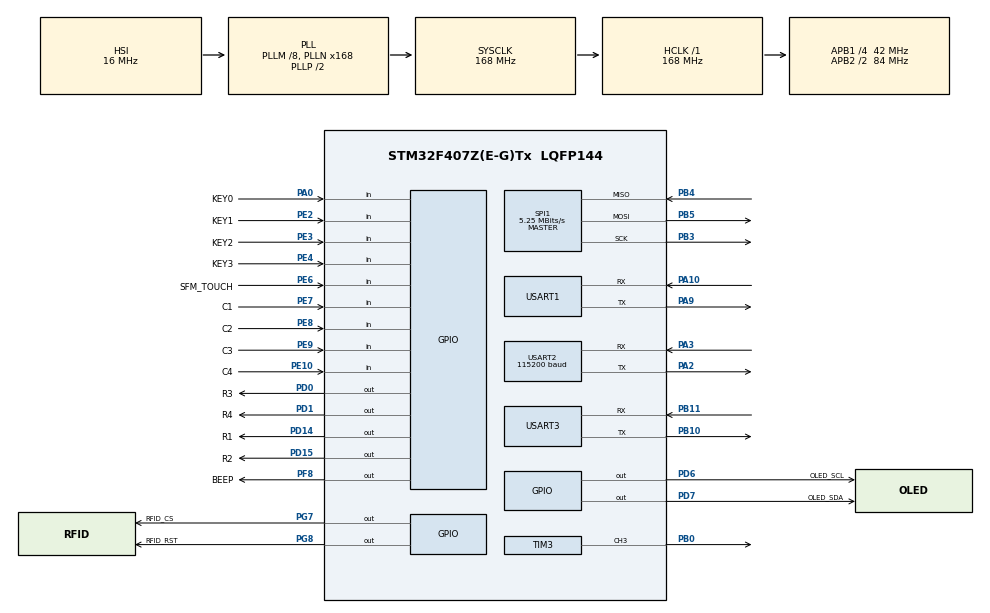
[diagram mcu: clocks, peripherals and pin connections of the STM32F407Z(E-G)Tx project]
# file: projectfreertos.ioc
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FREERTOS.Tasks01=defaultTask,24,128,StartDefaultTask,Default,NULL,Dynamic,NULL,NULL
Mcu.Family=STM32F4
Mcu.Name=STM32F407Z(E-G)Tx
Mcu.Package=LQFP144
NVIC.PriorityGroup=NVIC_PRIORITYGROUP_4
NVIC.TIM8_UP_TIM13_IRQn=true\:15\:0\:false\:false\:true\:false\:false\:true\:true
NVIC.TimeBase=TIM8_UP_TIM13_IRQn
NVIC.TimeBaseIP=TIM8
NVIC.USART1_IRQn=true\:5\:0\:false\:false\:true\:true\:true\:true\:true
NVIC.USART2_IRQn=true\:5\:0\:false\:false\:true\:true\:true\:true\:true
PA0-WKUP.GPIO_Label=KEY0
PA0-WKUP.GPIO_PuPd=GPIO_PULLUP
PA0-WKUP.Signal=GPIO_Input
PA10.Mode=Asynchronous
PA10.Signal=USART1_RX
PA13.Mode=Serial_Wire
PA13.Signal=SYS_JTMS-SWDIO
PA14.Mode=Serial_Wire
PA14.Signal=SYS_JTCK-SWCLK
PA2.Mode=Asynchronous
PA2.Signal=USART2_TX
PA3.GPIO_PuPd=GPIO_PULLUP
PA3.Mode=Asynchronous
PA3.Signal=USART2_RX
PA9.Mode=Asynchronous
PA9.Signal=USART1_TX
PB0.Signal=S_TIM3_CH3
PB10.Mode=Asynchronous
PB10.Signal=USART3_TX
PB11.Mode=Asynchronous
PB11.Signal=USART3_RX
PB3.Mode=Full_Duplex_Master
PB3.Signal=SPI1_SCK
PB4.Mode=Full_Duplex_Master
PB4.Signal=SPI1_MISO
PB5.Mode=Full_Duplex_Master
PB5.Signal=SPI1_MOSI
PC14-OSC32_IN.Mode=LSE-External-Oscillator
PC14-OSC32_IN.Signal=RCC_OSC32_IN
PC15-OSC32_OUT.Mode=LSE-External-Oscillator
PC15-OSC32_OUT.Signal=RCC_OSC32_OUT
PD0.GPIO_Label=R3
PD0.PinState=GPIO_PIN_SET
PD0.Signal=GPIO_Output
PD1.GPIO_Label=R4
PD1.PinState=GPIO_PIN_SET
PD1.Signal=GPIO_Output
PD14.GPIO_Label=R1
PD14.PinState=GPIO_PIN_SET
PD14.Signal=GPIO_Output
PD15.GPIO_Label=R2
PD15.PinState=GPIO_PIN_SET
PD15.Signal=GPIO_Output
PD6.GPIO_Label=OLED_SCL
PD6.GPIO_ModeDefaultOutputPP=GPIO_MODE_OUTPUT_OD
PD6.GPIO_PuPd=GPIO_NOPULL
PD6.PinState=GPIO_PIN_SET
PD6.Signal=GPIO_Output
PD7.GPIO_Label=OLED_SDA
PD7.GPIO_ModeDefaultOutputPP=GPIO_MODE_OUTPUT_OD
PD7.GPIO_PuPd=GPIO_NOPULL
PD7.PinState=GPIO_PIN_SET
PD7.Signal=GPIO_Output
PE10.GPIO_Label=C4
PE10.GPIO_PuPd=GPIO_PULLUP
PE10.Signal=GPIO_Input
PE2.GPIO_Label=KEY1
PE2.GPIO_PuPd=GPIO_PULLUP
PE2.Signal=GPIO_Input
PE3.GPIO_Label=KEY2
PE3.GPIO_PuPd=GPIO_PULLUP
PE3.Signal=GPIO_Input
PE4.GPIO_Label=KEY3
PE4.GPIO_PuPd=GPIO_PULLUP
PE4.Signal=GPIO_Input
PE6.GPIO_Label=SFM_TOUCH
PE6.GPIO_PuPd=GPIO_PULLUP
PE6.Signal=GPIO_Input
PE7.GPIO_Label=C1
PE7.GPIO_PuPd=GPIO_PULLUP
PE7.Signal=GPIO_Input
PE8.GPIO_Label=C2
PE8.GPIO_PuPd=GPIO_PULLUP
PE8.Signal=GPIO_Input
PE9.GPIO_Label=C3
PE9.GPIO_PuPd=GPIO_PULLUP
PE9.Signal=GPIO_Input
PF8.GPIO_Label=BEEP
PF8.GPIO_PuPd=GPIO_NOPULL
PF8.Signal=GPIO_Output
PG7.GPIO_Label=RFID_CS
PG7.GPIO_PuPd=GPIO_PULLUP
PG7.PinState=GPIO_PIN_SET
PG7.Signal=GPIO_Output
PG8.GPIO_Label=RFID_RST
PG8.GPIO_ModeDefaultOutputPP=GPIO_MODE_OUTPUT_PP
PG8.GPIO_PuPd=GPIO_PULLUP
PG8.PinState=GPIO_PIN_SET
PG8.Signal=GPIO_Output
ProjectManager.HeapSize=0x200
ProjectManager.StackSize=0x400
ProjectManager.TargetToolchain=MDK-ARM V5.32
RCC.48MHZClocksFreq_Value=84000000
RCC.AHBFreq_Value=168000000
RCC.APB1CLKDivider=RCC_HCLK_DIV4
RCC.APB1Freq_Value=42000000
RCC.APB1TimFreq_Value=84000000
RCC.APB2CLKDivider=RCC_HCLK_DIV2
RCC.APB2Freq_Value=84000000
RCC.APB2TimFreq_Value=168000000
RCC.CortexFreq_Value=168000000
RCC.HCLKFreq_Value=168000000
RCC.HSE_VALUE=25000000
RCC.HSI_VALUE=16000000
RCC.PLLM=8
RCC.PLLN=168
RCC.SYSCLKFreq_VALUE=168000000
RCC.SYSCLKSource=RCC_SYSCLKSOURCE_PLLCLK
RCC.VCOOutputFreq_Value=336000000
RTC.Date=19
RTC.Format=RTC_FORMAT_BIN
RTC.Hours=20
RTC.Month=RTC_MONTH_MARCH
RTC.WeekDay=RTC_WEEKDAY_THURSDAY
RTC.Year=26
SH.S_TIM3_CH3.0=TIM3_CH3,PWM Generation3 CH3
SPI1.BaudRatePrescaler=SPI_BAUDRATEPRESCALER_16
SPI1.CalculateBaudRate=5.25 MBits/s
SPI1.Direction=SPI_DIRECTION_2LINES
SPI1.Mode=SPI_MODE_MASTER
SPI1.VirtualType=VM_MASTER
TIM3.AutoReloadPreload=TIM_AUTORELOAD_PRELOAD_ENABLE
TIM3.Channel-PWM\ Generation3\ CH3=TIM_CHANNEL_3
TIM3.Period=20000
TIM3.Prescaler=83
USART1.VirtualMode=VM_ASYNC
USART2.BaudRate=115200
USART2.VirtualMode=VM_ASYNC
USART3.VirtualMode=VM_ASYNC
VP_FREERTOS_VS_CMSIS_V2.Mode=CMSIS_V2
VP_RTC_VS_RTC_Activate.Mode=RTC_Enabled
VP_RTC_VS_RTC_Calendar.Mode=RTC_Calendar
VP_SYS_VS_tim8.Mode=TIM8
VP_TIM3_VS_ClockSourceINT.Mode=Internal
board=custom

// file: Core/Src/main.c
/* USER CODE BEGIN Header */
/**
  ******************************************************************************
  * @file           : main.c
  * @brief          : Main program body
  ******************************************************************************
  * @attention
  *
  * Copyright (c) 2026 STMicroelectronics.
  * All rights reserved.
  *
  * This software is licensed under terms that can be found in the LICENSE file
  * in the root directory of this software component.
  * If no LICENSE file comes with this software, it is provided AS-IS.
  *
  ******************************************************************************
  */
/* USER CODE END Header */
#include "main.h"
#include "cmsis_os.h"
#include "rtc.h"
#include "spi.h"
#include "tim.h"
#include "usart.h"
#include "gpio.h"

/* USER CODE BEGIN Includes */
#include "uart_debug.h"  // 包含我们自定义的UART调试头文件
#include "menu.h"
#include "sfm.h"         // 指纹模块头文件
/* USER CODE END Includes */

void SystemClock_Config(void);
void MX_FREERTOS_Init(void);

int main(void)
{

  /* MCU Configuration--------------------------------------------------------*/

  /* Reset of all peripherals, Initializes the Flash interface and the Systick. */
  HAL_Init();

  /* Configure the system clock */
  SystemClock_Config();

  /* Initialize all configured peripherals */
  MX_GPIO_Init();
  MX_USART1_UART_Init();
  MX_USART2_UART_Init();
  MX_USART3_UART_Init();
  MX_TIM3_Init();
  MX_RTC_Init();
  MX_SPI1_Init();
  /* USER CODE BEGIN 2 */
  HAL_TIM_PWM_Start(&htim3, TIM_CHANNEL_3);
  uart_debug_init();      // 初始化UART调试(printf重定向到uart1)
  uart_debug_test();
  // 初始化指纹模块

  // RFID_Init();            // RFID初始化已移至RFID任务
  // RFID_ClearStoredCards(); // 清除卡片的操作也应在任务中按需执行
  // printf("RFID Module Initialized!\r\n");

  // // 运行RFID演示
  // printf("Starting RFID Demo...\r\n");
  // RFID_Demo();
  sfm_touch_init();       // 初始化触摸检测
  /* USER CODE END 2 */

  /* Init scheduler */
  osKernelInitialize();

  /* Call init function for freertos objects (in cmsis_os2.c) */
  MX_FREERTOS_Init();

  /* Start scheduler */
  osKernelStart();

  /* We should never get here as control is now taken by the scheduler */

  /* Infinite loop */
  while (1)
  {

  }
}

void SystemClock_Config(void)
{
  RCC_OscInitTypeDef RCC_OscInitStruct = {0};
  RCC_ClkInitTypeDef RCC_ClkInitStruct = {0};

  /** Configure the main internal regulator output voltage
  */
  __HAL_RCC_PWR_CLK_ENABLE();
  __HAL_PWR_VOLTAGESCALING_CONFIG(PWR_REGULATOR_VOLTAGE_SCALE1);

  /** Initializes the RCC Oscillators according to the specified parameters
  * in the RCC_OscInitTypeDef structure.
  */
  RCC_OscInitStruct.OscillatorType = RCC_OSCILLATORTYPE_HSI|RCC_OSCILLATORTYPE_LSI;
  RCC_OscInitStruct.HSIState = RCC_HSI_ON;
  RCC_OscInitStruct.HSICalibrationValue = RCC_HSICALIBRATION_DEFAULT;
  RCC_OscInitStruct.LSIState = RCC_LSI_ON;
  RCC_OscInitStruct.PLL.PLLState = RCC_PLL_ON;
  RCC_OscInitStruct.PLL.PLLSource = RCC_PLLSOURCE_HSI;
  RCC_OscInitStruct.PLL.PLLM = 8;
  RCC_OscInitStruct.PLL.PLLN = 168;
  RCC_OscInitStruct.PLL.PLLP = RCC_PLLP_DIV2;
  RCC_OscInitStruct.PLL.PLLQ = 4;
  if (HAL_RCC_OscConfig(&RCC_OscInitStruct) != HAL_OK)
  {
    Error_Handler();
  }

  /** Initializes the CPU, AHB and APB buses clocks
  */
  RCC_ClkInitStruct.ClockType = RCC_CLOCKTYPE_HCLK|RCC_CLOCKTYPE_SYSCLK
                              |RCC_CLOCKTYPE_PCLK1|RCC_CLOCKTYPE_PCLK2;
  RCC_ClkInitStruct.SYSCLKSource = RCC_SYSCLKSOURCE_PLLCLK;
  RCC_ClkInitStruct.AHBCLKDivider = RCC_SYSCLK_DIV1;
  RCC_ClkInitStruct.APB1CLKDivider = RCC_HCLK_DIV4;
  RCC_ClkInitStruct.APB2CLKDivider = RCC_HCLK_DIV2;

  if (HAL_RCC_ClockConfig(&RCC_ClkInitStruct, FLASH_LATENCY_5) != HAL_OK)
  {
    Error_Handler();
  }
}

void HAL_TIM_PeriodElapsedCallback(TIM_HandleTypeDef *htim)
{
  if (htim->Instance == TIM8)
  {
    HAL_IncTick();
  }
}

void Error_Handler(void)
{
  __disable_irq();
  while (1)
  {
  }
}

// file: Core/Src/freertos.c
/* USER CODE BEGIN Header */
/**
  ******************************************************************************
  * File Name          : freertos.c
  * Description        : Code for freertos applications
  ******************************************************************************
  * @attention
  *
  * Copyright (c) 2026 STMicroelectronics.
  * All rights reserved.
  *
  * This software is licensed under terms that can be found in the LICENSE file
  * in the root directory of this software component.
  * If no LICENSE file comes with this software, it is provided AS-IS.
  *
  ******************************************************************************
  */
/* USER CODE END Header */

#include "FreeRTOS.h"
#include "task.h"
#include "main.h"
#include "cmsis_os.h"

/* USER CODE BEGIN Includes */
#include "menu.h"  // 添加UI任务头文件
#include "rc522.h"
#include <stdio.h>
#include <string.h>
#include <ctype.h>
#include "usart.h"
#include "servo.h"
/* USER CODE END Includes */

/* USER CODE BEGIN PD */
#define UART3_LOG_RX_BYTES 0

/* USER CODE END PD */

/* USER CODE BEGIN Variables */
void RFID_Test_Task(void *argument);  // RFID测试任务声明
void ESP32_UART3_Task(void *argument); // ESP32串口命令任务
/* All keyboard and servo logic has been moved to respective modules */

/* USER CODE END Variables */
/* Definitions for defaultTask */
osThreadId_t defaultTaskHandle;
const osThreadAttr_t defaultTask_attributes = {
  .name = "defaultTask",
  .stack_size = 128 * 4,
  .priority = (osPriority_t) osPriorityNormal,
};

/* USER CODE BEGIN FunctionPrototypes */

/* Servo and keyboard functions are now in servo.c and keyboard.c modules */

/* USER CODE END FunctionPrototypes */

void StartDefaultTask(void *argument);

void MX_FREERTOS_Init(void); /* (MISRA C 2004 rule 8.1) */

void MX_FREERTOS_Init(void) {

  /* Create the thread(s) */
  /* creation of defaultTask */
  defaultTaskHandle = osThreadNew(StartDefaultTask, NULL, &defaultTask_attributes);

  /* USER CODE BEGIN RTOS_THREADS */
  /* add threads, ... */

  // 创建UI任务
  if (xTaskCreate(Task_UI, "Task_UI", 256, NULL, 5, NULL) != pdPASS)
  {
    printf("[RTOS] Task_UI create failed\r\n");
  }

  // ESP32 <-> STM32 串口通信任务（USART3）
  // 提高优先级，避免高负载时错过短命令帧
  if (xTaskCreate(ESP32_UART3_Task, "ESP32_UART3", 256, NULL, 4, NULL) != pdPASS)
  {
    printf("[RTOS] ESP32_UART3 create failed\r\n");
  }

    // 注意：菜单任务已负责RFID流程，这里不再创建测试任务，避免并发访问RC522/SPI造成读卡失败
    // xTaskCreate(RFID_Test_Task, "RFID_Test", 512, NULL, 4, NULL);

  /* USER CODE END RTOS_THREADS */

}

void StartDefaultTask(void *argument)
{
  /* USER CODE BEGIN StartDefaultTask */
  /* Default task can be used for other purposes or remain idle.
     All RFID logic has been moved to RFID_Test_Task. */
  /* Infinite loop */
  for(;;)
  {
    osDelay(1000);
  }
  /* USER CODE END StartDefaultTask */
}

/* USER CODE BEGIN Application */
// RFID测试任务
void RFID_Test_Task(void *argument)
{
  // 1. 初始化RFID模块
  RFID_Init();
  RFID_ClearStoredCards(); // 清除所有存储的卡片（用于测试）
  printf("RFID Task Started and Module Initialized!\r\n");

  // 2. 循环检测卡片
  for(;;)
  {
    printf("\r\n--- Running RFID Scan ---\r\n");
    // 调用高级演示函数，它会处理寻卡、读卡、打印ID等
    RFID_Demo();

    // 任务延时，让出CPU给其他任务
    // 每3秒执行一次完整的扫描/演示流程
    osDelay(3000);
  }
}

static void ESP32_UART3_ProcessCmd(char *cmd,
                                   uint32_t *last_unlock_tick,
                                   uint32_t unlock_hold_ms,
                                   uint8_t *is_unlocked)
{
  size_t start = 0U;
  size_t end;
  size_t i;
  uint32_t now_tick;

  if ((cmd == NULL) || (last_unlock_tick == NULL) || (is_unlocked == NULL))
  {
    return;
  }

  end = strlen(cmd);
  while ((start < end) && ((cmd[start] == ' ') || (cmd[start] == '\t')))
  {
    start++;
  }

  while ((end > start) && ((cmd[end - 1U] == ' ') || (cmd[end - 1U] == '\t')))
  {
    cmd[end - 1U] = '\0';
    end--;
  }

  if (start > 0U)
  {
    memmove(cmd, &cmd[start], (end - start) + 1U);
  }

  for (i = 0U; cmd[i] != '\0'; i++)
  {
    cmd[i] = (char)toupper((unsigned char)cmd[i]);
  }

  if (cmd[0] == '\0')
  {
    return;
  }

  if ((strcmp(cmd, "UNLOCK") == 0) || (strcmp(cmd, "U") == 0))
  {
    Servo_Unlock();
    *last_unlock_tick = HAL_GetTick();
    *is_unlocked = 1U;
    HAL_UART_Transmit(&huart3, (uint8_t *)"ACK:UNLOCK\r\n", 12, 100);
    printf("[ESP32 CMD] UNLOCK\r\n");
  }
  else if ((strcmp(cmd, "LOCK") == 0) || (strcmp(cmd, "L") == 0))
  {
    now_tick = HAL_GetTick();
    if ((now_tick - *last_unlock_tick) >= unlock_hold_ms)
    {
      Servo_Lock();
      *is_unlocked = 0U;
      HAL_UART_Transmit(&huart3, (uint8_t *)"ACK:LOCK\r\n", 10, 100);
      printf("[ESP32 CMD] LOCK\r\n");
    }
    else
    {
      HAL_UART_Transmit(&huart3, (uint8_t *)"ACK:LOCK:HOLD\r\n", 15, 100);
      printf("[ESP32 CMD] LOCK ignored (hold)\r\n");
    }
  }
  else if ((strcmp(cmd, "PING") == 0) || (strcmp(cmd, "P") == 0))
  {
    HAL_UART_Transmit(&huart3, (uint8_t *)"ACK:PING\r\n", 10, 100);
    printf("[ESP32 CMD] PING\r\n");
  }
  else
  {
    HAL_UART_Transmit(&huart3, (uint8_t *)"ERR:CMD\r\n", 9, 100);
    printf("[ESP32 CMD] unknown: %s\r\n", cmd);
  }
}

void ESP32_UART3_Task(void *argument)
{
  uint8_t rx;
  HAL_StatusTypeDef rx_status;
  char cmd[32] = {0};
  uint8_t idx = 0;
  uint8_t is_unlocked = 0U;
  uint32_t last_rx_tick = 0;
  uint32_t last_unlock_tick = 0;
  const char *boot_msg = "STM32_UART3_READY\r\n";
  const uint32_t unlock_hold_ms = 5000U;
  const uint32_t inter_byte_timeout_ms = 500U;

  HAL_UART_Transmit(&huart3, (uint8_t *)boot_msg, (uint16_t)strlen(boot_msg), 100);
  printf("[ESP32 UART3] task ready, waiting commands...\r\n");

  for (;;)
  {
    rx_status = HAL_UART_Receive(&huart3, &rx, 1, 20);

    if (rx_status == HAL_OK)
    {
      uint32_t now = HAL_GetTick();

      if ((idx > 0U) && ((now - last_rx_tick) > inter_byte_timeout_ms))
      {
        cmd[idx] = '\0';
        ESP32_UART3_ProcessCmd(cmd, &last_unlock_tick, unlock_hold_ms, &is_unlocked);
        idx = 0;
        memset(cmd, 0, sizeof(cmd));
      }

      last_rx_tick = now;
    #if UART3_LOG_RX_BYTES
      printf("[UART3 RX] 0x%02X\r\n", rx);
    #endif

      if ((rx == '\r') || (rx == '\n'))
      {
        if (idx > 0)
        {
          cmd[idx] = '\0';
          ESP32_UART3_ProcessCmd(cmd, &last_unlock_tick, unlock_hold_ms, &is_unlocked);

          idx = 0;
          memset(cmd, 0, sizeof(cmd));
        }
      }
      else if (idx < (sizeof(cmd) - 1U))
      {
        cmd[idx++] = (char)rx;
      }
      else
      {
        idx = 0;
        memset(cmd, 0, sizeof(cmd));
        HAL_UART_Transmit(&huart3, (uint8_t *)"ERR:LEN\r\n", 9, 100);
      }
    }
    else if (rx_status == HAL_ERROR)
    {
      uint32_t err = HAL_UART_GetError(&huart3);
      if (err != HAL_UART_ERROR_NONE)
      {
        // Clear sticky UART errors (especially ORE) so receive can recover.
        __HAL_UART_CLEAR_PEFLAG(&huart3);
        __HAL_UART_CLEAR_FEFLAG(&huart3);
        __HAL_UART_CLEAR_NEFLAG(&huart3);
        __HAL_UART_CLEAR_OREFLAG(&huart3);
        printf("[UART3 ERR] 0x%08lX\r\n", err);
      }
      idx = 0;
      memset(cmd, 0, sizeof(cmd));
    }

    if (is_unlocked != 0U)
    {
      uint32_t now_tick = HAL_GetTick();
      if ((now_tick - last_unlock_tick) >= unlock_hold_ms)
      {
        Servo_Lock();
        is_unlocked = 0U;
        HAL_UART_Transmit(&huart3, (uint8_t *)"ACK:AUTOLOCK\r\n", 13, 100);
        printf("[ESP32 CMD] AUTO LOCK\r\n");
      }
    }

    osDelay(5);
  }
}
/* USER CODE END Application */
